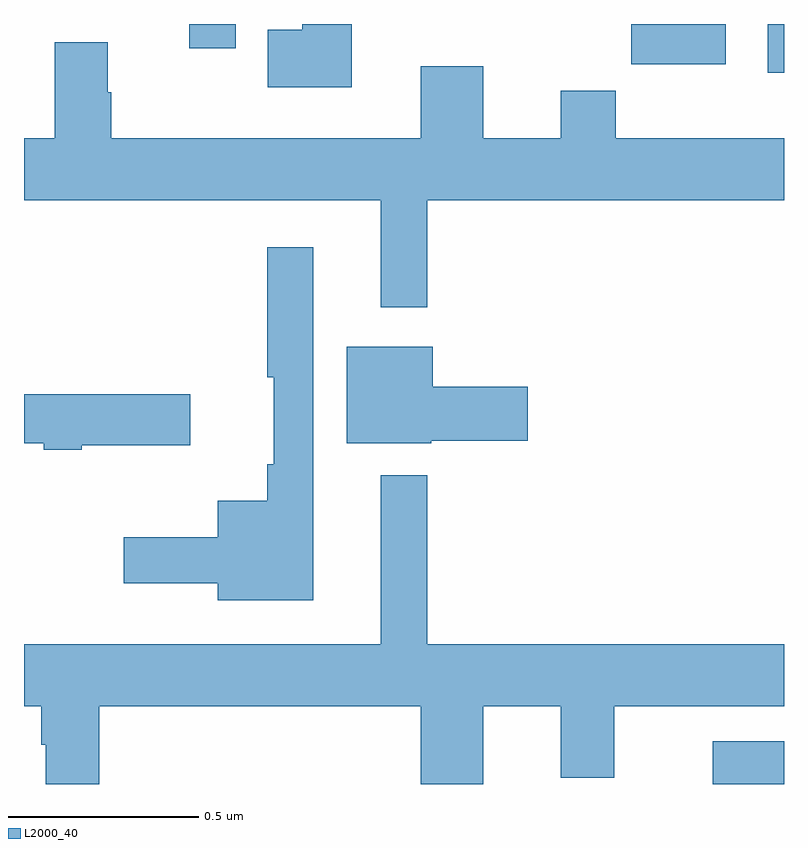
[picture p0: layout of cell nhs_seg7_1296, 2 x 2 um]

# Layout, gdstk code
import gdstk
lib = gdstk.Library(unit=1e-6, precision=1e-09)
def R(c, l, rs):  # rectangles x0, y0, x1, y1
    for r in rs: c.add(gdstk.rectangle(r[:2], r[2:], *l))
def P(c, l, *ps):  # polygons
    for p in ps: c.add(gdstk.Polygon(p, *l))
L2000_40 = (2000, 40)

nhs_seg7_1296 = lib.new_cell('nhs_seg7_1296')
R(nhs_seg7_1296, L2000_40, [(129.813,1079,130,1079.113), (129.957,1080.872,130,1081), (129.598,1080.894,129.847,1081), (128.435,1080.936,128.557,1081)])
P(nhs_seg7_1296, L2000_40, [(128.862,1081),(128.732,1081),(128.732,1080.985),(128.642,1080.985),(128.642,1080.833),(128.862,1080.833)],
  [(129.061,1080.536),(130,1080.536),(130,1080.7),(129.557,1080.7),(129.557,1080.824),(129.413,1080.824),(129.413,1080.7),(129.208,1080.7),(129.208,1080.889),(129.044,1080.889),(129.044,1080.7),(128.229,1080.7),(128.229,1080.821),(128.221,1080.821),(128.221,1080.952),(128.081,1080.952),(128.081,1080.7),(128,1080.7),(128,1080.536),(128.939,1080.536),(128.939,1080.255),(129.061,1080.255)],
  [(128.761,1080.412),(128.64,1080.412),(128.64,1080.071),(128.657,1080.071),(128.657,1079.842),(128.64,1079.842),(128.64,1079.746),(128.51,1079.746),(128.51,1079.65),(128.262,1079.65),(128.262,1079.528),(128.51,1079.528),(128.51,1079.483),(128.761,1079.483)],
  [(129.072,1079.903),(129.325,1079.903),(129.325,1080.045),(129.076,1080.045),(129.076,1080.151),(128.849,1080.151),(128.849,1079.897),(129.072,1079.897)],
  [(128.152,1079.891),(128.437,1079.891),(128.437,1080.026),(128,1080.026),(128,1079.897),(128.052,1079.897),(128.052,1079.879),(128.152,1079.879)],
  [(128.198,1079.204),(129.044,1079.204),(129.044,1079),(129.208,1079),(129.208,1079.204),(129.413,1079.204),(129.413,1079.017),(129.553,1079.017),(129.553,1079.204),(130,1079.204),(130,1079.368),(129.061,1079.368),(129.061,1079.812),(128.939,1079.812),(128.939,1079.368),(128,1079.368),(128,1079.204),(128.045,1079.204),(128.045,1079.103),(128.057,1079.103),(128.057,1079),(128.198,1079)])

lib.write_gds('nhs_seg7_1296.gds')
